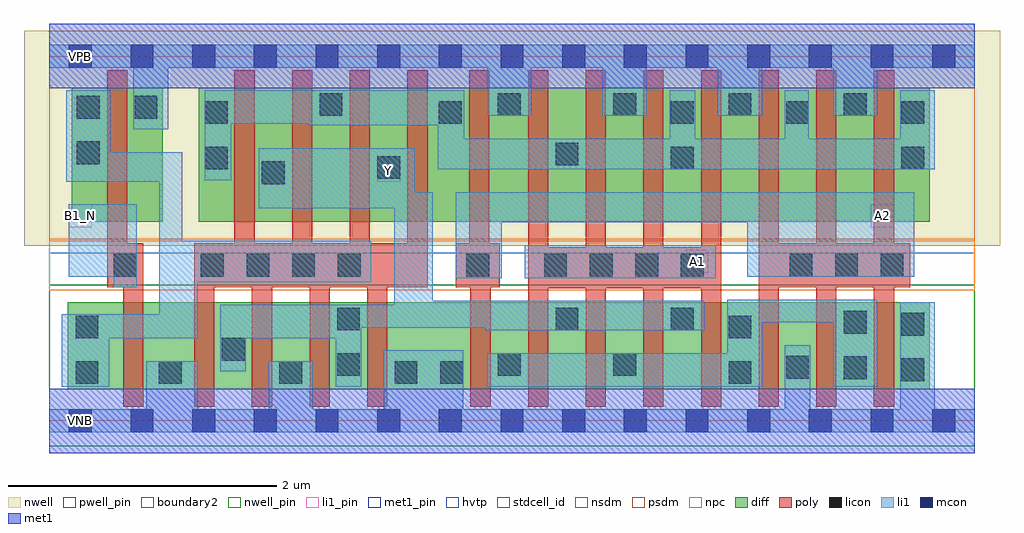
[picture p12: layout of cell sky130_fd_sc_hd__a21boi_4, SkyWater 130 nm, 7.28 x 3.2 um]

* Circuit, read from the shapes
.subckt sky130_fd_sc_hd__a21boi_4 A1 A2 B1_N VGND VNB VPB VPWR Y
XM1 VGND B1_N n1 VNB sky130_fd_pr__nfet_01v8 w=0.65 l=0.15
XM2 Y n1 VGND VNB sky130_fd_pr__nfet_01v8 w=0.65 l=0.15 m=4
XM3 n2 A2 VGND VNB sky130_fd_pr__nfet_01v8 w=0.65 l=0.15 m=4
XM4 Y A1 n2 VNB sky130_fd_pr__nfet_01v8 w=0.65 l=0.15 m=4
XM5 VPWR B1_N n1 VPB sky130_fd_pr__pfet_01v8_hvt w=1 l=0.15
XM6 Y n1 n3 VPB sky130_fd_pr__pfet_01v8_hvt w=1 l=0.15 m=4
XM7 VPWR A2 n3 VPB sky130_fd_pr__pfet_01v8_hvt w=1 l=0.15 m=4
XM8 n3 A1 VPWR VPB sky130_fd_pr__pfet_01v8_hvt w=1 l=0.15 m=4
.ends

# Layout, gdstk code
import gdstk
lib = gdstk.Library(unit=1e-6, precision=1e-09)
def R(c, l, rs):  # rectangles x0, y0, x1, y1
    for r in rs: c.add(gdstk.rectangle(r[:2], r[2:], *l))
def A(c, l, x, y, w, h, nx, ny, dx, dy):  # array of equal rectangles
    R(c, l, [(x+i*dx, y+j*dy, x+i*dx+w, y+j*dy+h) for i in range(nx) for j in range(ny)])
def P(c, l, *ps):  # polygons
    for p in ps: c.add(gdstk.Polygon(p, *l))
nwell_pin = (64, 16)
nwell = (64, 20)
diff = (65, 20)
poly = (66, 20)
licon = (66, 44)
li1_pin = (67, 16)
li1 = (67, 20)
mcon = (67, 44)
met1_pin = (68, 16)
met1 = (68, 20)
hvtp = (78, 44)
stdcell_id = (81, 4)
nsdm = (93, 44)
psdm = (94, 20)
npc = (95, 20)
pwell_pin = (122, 16)
boundary2 = (236, 0)

sky130_fd_sc_hd__a21boi_ = lib.new_cell('sky130_fd_sc_hd__a21boi_4')
R(sky130_fd_sc_hd__a21boi_, nwell_pin, [(0.145,2.635,0.315,2.805)])
R(sky130_fd_sc_hd__a21boi_, nwell, [(-0.19,1.305,7.09,2.91)])
R(sky130_fd_sc_hd__a21boi_, diff, [(0.135,0.235,6.565,0.885), (0.165,1.485,0.845,2.485), (1.115,1.485,6.565,2.485)])
P(sky130_fd_sc_hd__a21boi_, poly, [(0.55,0.105),(0.55,0.995),(0.43,0.995),(0.43,2.615),(0.58,2.615),(0.58,1.325),(0.7,1.325),(0.7,0.105)],
  [(1.08,0.105),(1.08,1.325),(1.38,1.325),(1.38,2.615),(1.53,2.615),(1.53,1.325),(1.81,1.325),(1.81,2.615),(1.96,2.615),(1.96,1.325),(2.24,1.325),(2.24,2.615),(2.39,2.615),(2.39,1.325),(2.67,1.325),(2.67,2.615),(2.82,2.615),(2.82,0.995),(2.52,0.995),(2.52,0.105),(2.37,0.105),(2.37,0.995),(2.09,0.995),(2.09,0.105),(1.94,0.105),(1.94,0.995),(1.66,0.995),(1.66,0.105),(1.51,0.105),(1.51,0.995),(1.23,0.995),(1.23,0.105)],
  [(3.14,0.105),(3.14,0.995),(3.03,0.995),(3.03,1.325),(3.13,1.325),(3.13,2.615),(3.28,2.615),(3.28,1.325),(3.36,1.325),(3.36,0.995),(3.29,0.995),(3.29,0.105)],
  [(3.57,0.105),(3.57,2.615),(3.72,2.615),(3.72,1.295),(4,1.295),(4,2.615),(4.15,2.615),(4.15,1.295),(4.43,1.295),(4.43,2.615),(4.58,2.615),(4.58,1.295),(4.86,1.295),(4.86,2.615),(5.01,2.615),(5.01,0.105),(4.86,0.105),(4.86,0.99),(4.58,0.99),(4.58,0.105),(4.43,0.105),(4.43,0.99),(4.15,0.99),(4.15,0.105),(4,0.105),(4,0.99),(3.72,0.99),(3.72,0.105)],
  [(5.29,0.105),(5.29,2.615),(5.44,2.615),(5.44,1.325),(5.72,1.325),(5.72,2.615),(5.87,2.615),(5.87,1.325),(6.15,1.325),(6.15,2.615),(6.3,2.615),(6.3,1.325),(6.42,1.325),(6.42,0.995),(6.3,0.995),(6.3,0.105),(6.15,0.105),(6.15,0.995),(5.87,0.995),(5.87,0.105),(5.72,0.105),(5.72,0.995),(5.44,0.995),(5.44,0.105)])
A(sky130_fd_sc_hd__a21boi_, licon, 1.13, 1.075, 0.17, 0.17, 4, 1, 0.34, 0)
A(sky130_fd_sc_hd__a21boi_, licon, 3.69, 1.075, 0.17, 0.17, 4, 1, 0.34, 0)
A(sky130_fd_sc_hd__a21boi_, licon, 5.52, 1.075, 0.17, 0.17, 3, 1, 0.34, 0)
A(sky130_fd_sc_hd__a21boi_, licon, 4.635, 2.215, 0.17, 0.17, 3, 1, 0.86, 0)
A(sky130_fd_sc_hd__a21boi_, licon, 3.345, 2.275, 0.17, 0.17, 4, 1, 0.86, 0)
R(sky130_fd_sc_hd__a21boi_, licon, [(0.195,0.275,0.365,0.445), (0.815,0.275,0.985,0.445), (1.715,0.275,1.885,0.445), (2.575,0.275,2.745,0.445), (2.915,0.275,3.085,0.445), (5.065,0.275,5.235,0.445), (6.355,0.295,6.525,0.465), (5.925,0.31,6.095,0.48), (5.495,0.315,5.665,0.485), (2.145,0.335,2.315,0.505), (3.345,0.335,3.515,0.505), (4.205,0.335,4.375,0.505), (1.285,0.45,1.455,0.62), (0.195,0.615,0.365,0.785), (5.065,0.615,5.235,0.785), (6.355,0.635,6.525,0.805), (5.925,0.65,6.095,0.82), (2.145,0.675,2.315,0.845), (3.775,0.675,3.945,0.845), (4.635,0.675,4.805,0.845), (0.48,1.075,0.65,1.245), (3.11,1.075,3.28,1.245), (1.585,1.765,1.755,1.935), (2.445,1.805,2.615,1.975), (1.16,1.875,1.33,2.045), (4.635,1.875,4.805,2.045), (6.355,1.875,6.525,2.045), (3.775,1.905,3.945,2.075), (0.205,1.915,0.375,2.085), (1.16,2.215,1.33,2.385), (2.905,2.215,3.075,2.385), (0.205,2.255,0.375,2.425), (0.635,2.255,0.805,2.425), (2.015,2.275,2.185,2.445)])
R(sky130_fd_sc_hd__a21boi_, li1_pin, [(4.745,1.105,4.915,1.275), (0.145,1.445,0.315,1.615), (6.125,1.445,6.295,1.615), (2.445,1.785,2.615,1.955)])
R(sky130_fd_sc_hd__a21boi_, li1, [(3.545,1.065,4.97,1.31)])
P(sky130_fd_sc_hd__a21boi_, li1, [(0.48,0.995),(0.48,1.075),(0.145,1.075),(0.145,1.615),(0.65,1.615),(0.65,0.995)],
  [(0.09,0.255),(0.09,0.795),(0.82,0.795),(0.82,1.785),(0.125,1.785),(0.125,2.465),(0.455,2.465),(0.455,2.005),(0.99,2.005),(0.99,1.345),(2.4,1.345),(2.4,1.035),(1.105,1.035),(1.105,0.615),(0.445,0.615),(0.445,0.255)],
  [(2.135,0.255),(2.135,0.615),(1.465,0.615),(1.465,0.37),(1.275,0.37),(1.275,0.865),(2.57,0.865),(2.57,1.585),(1.56,1.585),(1.56,2.035),(2.725,2.035),(2.725,1.705),(2.86,1.705),(2.86,0.895),(4.885,0.895),(4.885,0.675),(3.255,0.675),(3.255,0.695),(2.325,0.695),(2.325,0.255)],
  [(0,-0.085),(0,0.085),(0.72,0.085),(0.72,0.445),(1.105,0.445),(1.105,0.085),(1.635,0.085),(1.635,0.445),(1.965,0.445),(1.965,0.085),(2.495,0.085),(2.495,0.525),(3.085,0.525),(3.085,0.085),(5.485,0.085),(5.485,0.565),(5.675,0.565),(5.675,0.085),(6.345,0.085),(6.345,0.885),(6.605,0.885),(6.605,0.085),(6.9,0.085),(6.9,-0.085)],
  [(0.625,2.175),(0.625,2.635),(0,2.635),(0,2.805),(6.9,2.805),(6.9,2.635),(6.175,2.635),(6.175,2.275),(5.845,2.275),(5.845,2.635),(5.315,2.635),(5.315,2.275),(4.985,2.275),(4.985,2.635),(4.455,2.635),(4.455,2.275),(4.125,2.275),(4.125,2.635),(3.595,2.635),(3.595,2.275),(3.265,2.275),(3.265,2.635),(0.885,2.635),(0.885,2.175)],
  [(3.265,0.255),(3.265,0.505),(5.055,0.505),(5.055,0.905),(6.175,0.905),(6.175,0.255),(5.845,0.255),(5.845,0.735),(5.315,0.735),(5.315,0.255)],
  [(3.03,1.065),(3.03,1.705),(6.45,1.705),(6.45,1.075),(5.205,1.075),(5.205,1.48),(3.375,1.48),(3.375,1.065)],
  [(1.16,1.795),(1.16,2.465),(3.095,2.465),(3.095,2.105),(4.625,2.105),(4.625,2.465),(4.815,2.465),(4.815,2.105),(5.485,2.105),(5.485,2.465),(5.665,2.465),(5.665,2.105),(6.345,2.105),(6.345,2.465),(6.605,2.465),(6.605,1.875),(2.895,1.875),(2.895,2.205),(1.935,2.205),(1.935,2.215),(1.355,2.215),(1.355,1.795)])
A(sky130_fd_sc_hd__a21boi_, mcon, 0.145, -0.085, 0.17, 0.17, 15, 2, 0.46, 2.72)
R(sky130_fd_sc_hd__a21boi_, met1_pin, [(0.145,-0.085,0.315,0.085), (0.145,2.635,0.315,2.805)])
R(sky130_fd_sc_hd__a21boi_, hvtp, [(0,1.25,6.9,2.72)])
R(sky130_fd_sc_hd__a21boi_, stdcell_id, [(0,0,6.9,2.72)])
R(sky130_fd_sc_hd__a21boi_, nsdm, [(0,-0.19,6.9,1.015)])
R(sky130_fd_sc_hd__a21boi_, psdm, [(0,1.355,6.9,2.91)])
R(sky130_fd_sc_hd__a21boi_, npc, [(0,0.975,6.9,1.345)])
R(sky130_fd_sc_hd__a21boi_, pwell_pin, [(0.145,-0.085,0.315,0.085)])
R(sky130_fd_sc_hd__a21boi_, boundary2, [(0,0,6.9,2.72)])
sky130_fd_sc_hd__a21boi_.add(gdstk.FlexPath([(0,2.72),(6.9,2.72)], 0.48, ends="flush", simple_path=True, layer=68, datatype=20))  # met1
sky130_fd_sc_hd__a21boi_.add(gdstk.FlexPath([(0,0),(6.9,0)], 0.48, ends="flush", simple_path=True, layer=68, datatype=20))  # met1
sky130_fd_sc_hd__a21boi_.add(gdstk.Label('Y', (2.53,1.87), layer=67, texttype=5))
sky130_fd_sc_hd__a21boi_.add(gdstk.Label('A1', (4.83,1.19), layer=67, texttype=5))
sky130_fd_sc_hd__a21boi_.add(gdstk.Label('B1_N', (0.23,1.53), layer=67, texttype=5))
sky130_fd_sc_hd__a21boi_.add(gdstk.Label('A2', (6.21,1.53), layer=67, texttype=5))
sky130_fd_sc_hd__a21boi_.add(gdstk.Label('VNB', (0.23,0), layer=64, texttype=59))
sky130_fd_sc_hd__a21boi_.add(gdstk.Label('VPB', (0.23,2.72), layer=64, texttype=5))
sky130_fd_sc_hd__a21boi_.add(gdstk.Label('VGND', (0.23,0), layer=68, texttype=5))
sky130_fd_sc_hd__a21boi_.add(gdstk.Label('VPWR', (0.23,2.72), layer=68, texttype=5))
sky130_fd_sc_hd__a21boi_.add(gdstk.Label('a21boi_4', (0,0), layer=83, texttype=44))

lib.write_gds('sky130_fd_sc_hd__a21boi_4.gds')
